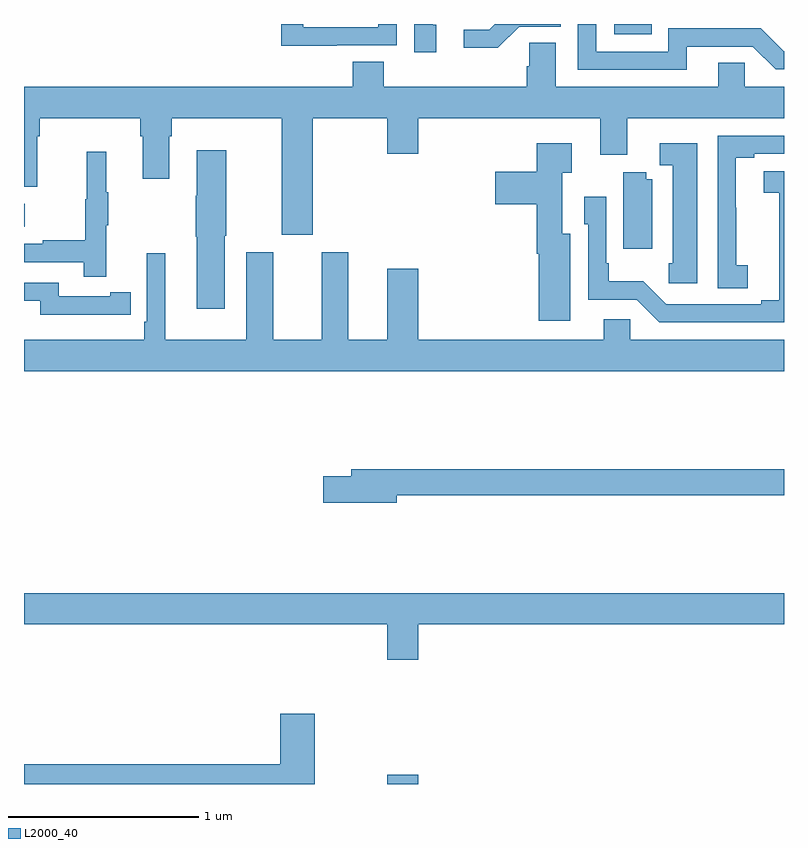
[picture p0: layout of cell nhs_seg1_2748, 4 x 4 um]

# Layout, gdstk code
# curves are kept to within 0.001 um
import gdstk
lib = gdstk.Library(unit=1e-6, precision=1e-09)
def R(c, l, rs):  # rectangles x0, y0, x1, y1
    for r in rs: c.add(gdstk.rectangle(r[:2], r[2:], *l))
def P(c, l, *ps):  # polygons
    for p in ps: c.add(gdstk.Polygon(p, *l))
L2000_40 = (2000, 40)

nhs_seg1_2748 = lib.new_cell('nhs_seg1_2748')
R(nhs_seg1_2748, L2000_40, [(260.912,576.199,261.076,576.247), (259,579.131,259.003,579.253), (262.107,580.145,262.305,580.199)])
P(nhs_seg1_2748, L2000_40, [(261.606,580.185),(261.825,580.185),(261.825,580.199),(261.478,580.199),(261.449,580.17),(261.315,580.17),(261.315,580.073),(261.493,580.073)],
  [(262.489,580.08),(262.836,580.08),(262.956,579.96),(263,579.96),(263,580.056),(262.998,580.056),(262.878,580.176),(262.392,580.176),(262.392,580.053),(262.011,580.053),(262.011,580.199),(261.915,580.199),(261.915,579.957),(262.489,579.957)],
  [(261.169,580.194),(261.15,580.194),(261.15,580.199),(261.054,580.199),(261.054,580.05),(261.169,580.05)],
  [(260.645,580.086),(260.961,580.086),(260.961,580.199),(260.865,580.199),(260.865,580.182),(260.469,580.182),(260.469,580.199),(260.353,580.199),(260.353,580.085),(260.645,580.085)],
  [(260.521,579.704),(260.912,579.704),(260.912,579.516),(261.076,579.516),(261.076,579.704),(262.034,579.704),(262.034,579.51),(262.174,579.51),(262.174,579.704),(263,579.704),(263,579.868),(262.794,579.868),(262.794,579.995),(262.655,579.995),(262.655,579.868),(261.799,579.868),(261.799,580.1),(261.66,580.1),(261.66,579.977),(261.647,579.977),(261.647,579.868),(260.894,579.868),(260.894,580.001),(260.729,580.001),(260.729,579.868),(259,579.868),(259,579.342),(259.069,579.342),(259.069,579.608),(259.082,579.608),(259.082,579.704),(259.613,579.704),(259.613,579.608),(259.625,579.608),(259.625,579.384),(259.765,579.384),(259.765,579.608),(259.778,579.608),(259.778,579.704),(260.357,579.704),(260.357,579.09),(260.521,579.09)],
  [(262.81,578.929),(262.749,578.929),(262.749,579.233),(262.747,579.233),(262.747,579.496),(262.843,579.496),(262.843,579.516),(263,579.516),(263,579.612),(262.65,579.612),(262.65,578.809),(262.81,578.809)],
  [(262.543,579.571),(262.347,579.571),(262.347,579.456),(262.415,579.456),(262.415,578.94),(262.393,578.94),(262.393,578.835),(262.543,578.835)],
  [(261.874,579.094),(261.832,579.094),(261.832,579.415),(261.883,579.415),(261.883,579.571),(261.698,579.571),(261.698,579.421),(261.48,579.421),(261.48,579.251),(261.698,579.251),(261.698,578.99),(261.71,578.99),(261.71,578.637),(261.874,578.637)],
  [(260.056,579.085),(260.064,579.085),(260.064,579.535),(259.91,579.535),(259.91,579.296),(259.903,579.296),(259.903,579.079),(259.91,579.079),(259.91,578.7),(260.056,578.7)],
  [(259.433,579.139),(259.444,579.139),(259.444,579.313),(259.433,579.313),(259.433,579.526),(259.33,579.526),(259.33,579.276),(259.323,579.276),(259.323,579.062),(259.099,579.062),(259.099,579.042),(259,579.042),(259,578.946),(259.315,578.946),(259.315,578.868),(259.433,578.868)],
  [(263,579.425),(262.893,579.425),(262.893,579.31),(262.975,579.31),(262.976,578.744),(262.88,578.744),(262.88,578.724),(262.38,578.724),(262.259,578.845),(262.078,578.845),(262.078,578.941),(262.065,578.941),(262.065,579.289),(261.948,579.289),(261.948,579.144),(261.969,579.144),(261.969,578.748),(262.224,578.748),(262.344,578.628),(263,578.628)],
  [(262.306,579.382),(262.274,579.382),(262.274,579.419),(262.154,579.419),(262.154,579.015),(262.306,579.015)],
  [(263,578.536),(262.191,578.536),(262.191,578.646),(262.052,578.646),(262.052,578.536),(261.076,578.536),(261.076,578.911),(260.912,578.911),(260.912,578.536),(260.707,578.536),(260.707,578.998),(260.567,578.998),(260.567,578.536),(260.311,578.536),(260.311,578.998),(260.171,578.998),(260.171,578.536),(259.744,578.536),(259.744,578.992),(259.647,578.992),(259.647,578.632),(259.634,578.632),(259.634,578.536),(259,578.536),(259,578.372),(263,578.372)],
  [(259.454,578.67),(259.562,578.67),(259.562,578.786),(259.454,578.786),(259.454,578.766),(259.182,578.766),(259.182,578.838),(259,578.838),(259,578.742),(259.086,578.742),(259.086,578.669),(259.454,578.669)],
  [(260.962,577.72),(263,577.72),(263,577.856),(260.723,577.856),(260.723,577.82),(260.574,577.82),(260.574,577.678),(260.962,577.678)],
  [(261.076,577.04),(263,577.04),(263,577.204),(259,577.204),(259,577.04),(260.912,577.04),(260.912,576.852),(261.076,576.852)],
  [(260.531,576.568),(260.348,576.568),(260.348,576.302),(259,576.302),(259,576.199),(260.531,576.199)])

lib.write_gds('nhs_seg1_2748.gds')
